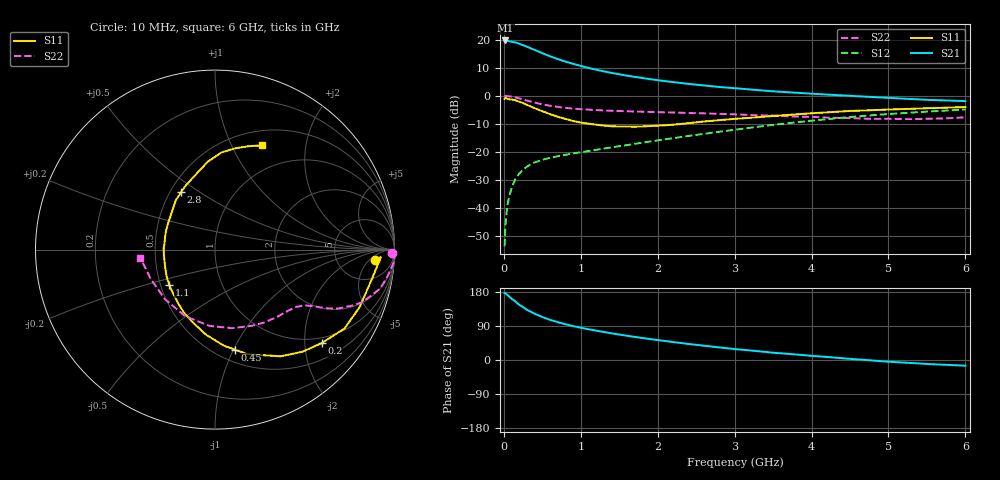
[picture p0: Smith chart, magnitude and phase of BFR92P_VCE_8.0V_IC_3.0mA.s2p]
! Infineon Technologies  Discrete & RF Semiconductors
! BFR92P
! VCE =  8.0 V,  IC =  3.0 mA
! Common Emitter S-Parameters:  Apr 2014
# GHz  S  MA  R  50
!  f  S11  S21  S12  S22
! GHz  MAG  ANG  MAG  ANG  MAG  ANG  MAG  ANG
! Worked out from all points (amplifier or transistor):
!   77 points, 10 MHz to 6 GHz, reference 50 ohm
!   highest |S21| = 19.8 dB at 20 MHz (marker M1)
!   |S21| within 3 dB of that: start of sweep to 367 MHz
!   unconditionally stable (mu >= 1): 1.221 GHz to 2.805 GHz
!   at 130 MHz: K = 0.16, MSG = 25.0 dB, |S12| = -30.8 dB
!   at 2.2 GHz: K = 1.07, MAG = 8.4 dB, |S12| = -15.0 dB
!   at 6 GHz: K = 0.86, MSG = 1.5 dB, |S12| = -4.8 dB
!   S11 on the Smith chart (normalised r, x): 10 MHz: 13, -7; 200 MHz: 0.86, -2.39; 450 MHz: 0.61, -1.02; 1.1 GHz: 0.56, -0.24; 2.8 GHz: 0.57, +0.42; 6 GHz: 0.67, +1.31
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0.01  0.8905 -3.7  9.559 176.6  0.0021 90.6  0.9851 -1.1
0.02  0.9252 -2.6  9.799 176.3  0.0046 81.6  1 -1.9
0.05  0.8887 -10.8  9.656 171.3  0.0119 83.7  0.9948 -4.6
0.1  0.8675 -21.6  9.287 161.7  0.0223 78.0  0.9711 -9.1
0.15  0.8448 -31.4  9.067 154.5  0.033 73.8  0.9452 -13.3
0.2  0.79 -41.3  8.565 145.7  0.0413 68.5  0.905 -16.6
0.3  0.6981 -58.4  7.587 132.5  0.0551 61.0  0.8296 -22.0
0.4  0.6092 -72.9  6.651 121.9  0.0655 56.8  0.7644 -25.4
0.45  0.5695 -78.6  6.216 117.9  0.0691 55.3  0.7381 -26.4
0.5  0.5361 -85.0  5.816 113.4  0.0727 54.0  0.7121 -27.4
0.6  0.4762 -96.1  5.124 106.1  0.0792 52.7  0.6708 -28.7
0.7  0.4269 -106.2  4.568 99.9  0.0844 51.6  0.6403 -29.6
0.8  0.3909 -116.5  4.117 94.4  0.0893 51.5  0.6158 -30.6
0.9  0.3588 -125.8  3.757 89.5  0.0949 51.8  0.5965 -31.5
1.1  0.3213 -142.7  3.173 81.1  0.1046 52.8  0.5725 -33.3
1.5  0.2861 -173.8  2.442 67.1  0.1274 55.4  0.5412 -37.7
2.1  0.3012 149.0  1.843 50.1  0.1696 57.6  0.5123 -46.3
2.8  0.3714 120.5  1.45 33.2  0.2308 56.7  0.4811 -59.4
3.1  0.3999 112.1  1.344 27.1  0.2608 54.7  0.4648 -66.8
4.1  0.5017 92.7  1.081 9.5  0.3745 45.8  0.4182 -98.1
5.1  0.58 77.5  0.913 -5.7  0.4871 32.1  0.3889 -139.3
6  0.6359 65.9  0.813 -15.1  0.5762 18.8  0.4185 -173.9
